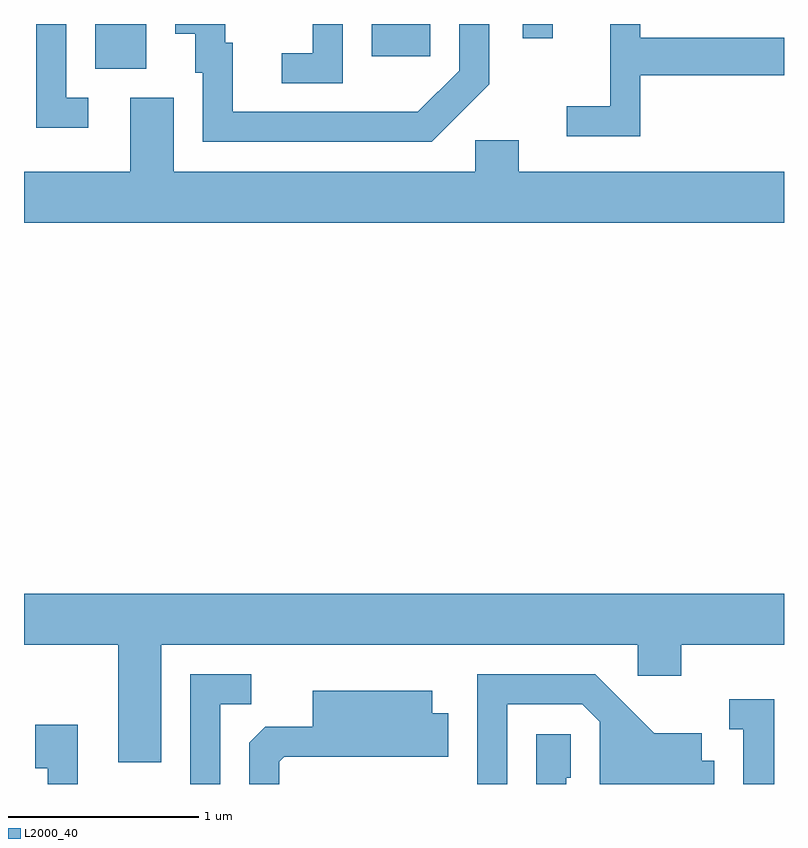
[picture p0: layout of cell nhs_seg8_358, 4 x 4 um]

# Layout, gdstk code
import gdstk
lib = gdstk.Library(unit=1e-6, precision=1e-09)
def R(c, l, rs):  # rectangles x0, y0, x1, y1
    for r in rs: c.add(gdstk.rectangle(r[:2], r[2:], *l))
def P(c, l, *ps):  # polygons
    for p in ps: c.add(gdstk.Polygon(p, *l))
L2000_40 = (2000, 40)

nhs_seg8_358 = lib.new_cell('nhs_seg8_358')
R(nhs_seg8_358, L2000_40, [(195.986,1846.106,196.254,1846.342), (197.441,1846.171,197.749,1846.342), (198.236,1846.268,198.394,1846.342)])
P(nhs_seg8_358, L2000_40, [(195.948,1845.954),(195.834,1845.954),(195.834,1846.342),(195.676,1846.342),(195.676,1845.796),(195.948,1845.796)],
  [(198.059,1846.024),(198.059,1846.342),(197.901,1846.342),(197.901,1846.097),(197.684,1845.879),(196.709,1845.879),(196.709,1846.244),(196.669,1846.244),(196.669,1846.342),(196.406,1846.342),(196.406,1846.291),(196.511,1846.291),(196.511,1846.086),(196.551,1846.086),(196.551,1845.721),(197.757,1845.721)],
  [(197.289,1846.342),(197.131,1846.342),(197.131,1846.189),(196.968,1846.189),(196.968,1846.031),(197.289,1846.031)],
  [(198.854,1846.071),(199.611,1846.071),(199.611,1846.269),(198.854,1846.269),(198.854,1846.342),(198.696,1846.342),(198.696,1845.909),(198.468,1845.909),(198.468,1845.751),(198.854,1845.751)],
  [(199.611,1845.564),(198.214,1845.564),(198.214,1845.729),(197.986,1845.729),(197.986,1845.564),(196.399,1845.564),(196.399,1845.954),(196.171,1845.954),(196.171,1845.564),(195.611,1845.564),(195.611,1845.296),(199.611,1845.296)],
  [(196.334,1843.076),(198.841,1843.076),(198.841,1842.911),(199.069,1842.911),(199.069,1843.076),(199.611,1843.076),(199.611,1843.344),(195.611,1843.344),(195.611,1843.076),(196.106,1843.076),(196.106,1842.456),(196.334,1842.456)],
  [(198.154,1842.761),(198.549,1842.761),(198.641,1842.669),(198.641,1842.342),(199.244,1842.342),(199.244,1842.464),(199.179,1842.464),(199.179,1842.609),(198.927,1842.609),(198.617,1842.919),(197.996,1842.919),(197.996,1842.342),(198.154,1842.342)],
  [(196.644,1842.761),(196.808,1842.761),(196.808,1842.919),(196.486,1842.919),(196.486,1842.342),(196.644,1842.342)],
  [(196.954,1842.459),(196.982,1842.486),(197.844,1842.486),(197.844,1842.714),(197.759,1842.714),(197.759,1842.834),(197.131,1842.834),(197.131,1842.644),(196.882,1842.644),(196.796,1842.559),(196.796,1842.342),(196.954,1842.342)],
  [(199.559,1842.789),(199.323,1842.789),(199.323,1842.631),(199.396,1842.631),(199.396,1842.342),(199.559,1842.342)],
  [(195.894,1842.654),(195.671,1842.654),(195.671,1842.426),(195.736,1842.426),(195.736,1842.342),(195.894,1842.342)],
  [(198.464,1842.376),(198.489,1842.376),(198.489,1842.604),(198.306,1842.604),(198.306,1842.342),(198.464,1842.342)])

lib.write_gds('nhs_seg8_358.gds')
